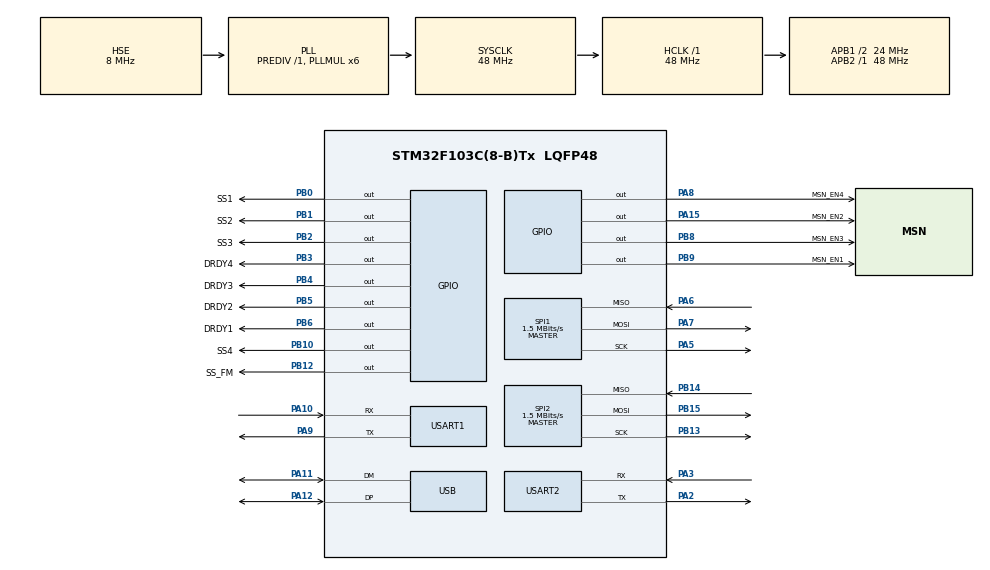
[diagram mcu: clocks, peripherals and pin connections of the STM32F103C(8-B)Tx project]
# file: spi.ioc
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Dma.Request0=SPI1_RX
Dma.Request1=SPI1_TX
Dma.Request2=USART1_RX
Dma.Request3=USART1_TX
Dma.Request4=USART2_RX
Dma.Request5=USART2_TX
Dma.SPI1_RX.0.Direction=DMA_PERIPH_TO_MEMORY
Dma.SPI1_RX.0.Instance=DMA1_Channel2
Dma.SPI1_RX.0.MemDataAlignment=DMA_MDATAALIGN_BYTE
Dma.SPI1_RX.0.MemInc=DMA_MINC_ENABLE
Dma.SPI1_RX.0.Mode=DMA_NORMAL
Dma.SPI1_RX.0.PeriphDataAlignment=DMA_PDATAALIGN_BYTE
Dma.SPI1_RX.0.PeriphInc=DMA_PINC_DISABLE
Dma.SPI1_RX.0.Priority=DMA_PRIORITY_LOW
Dma.SPI1_TX.1.Direction=DMA_MEMORY_TO_PERIPH
Dma.SPI1_TX.1.Instance=DMA1_Channel3
Dma.SPI1_TX.1.MemDataAlignment=DMA_MDATAALIGN_BYTE
Dma.SPI1_TX.1.MemInc=DMA_MINC_ENABLE
Dma.SPI1_TX.1.Mode=DMA_NORMAL
Dma.SPI1_TX.1.PeriphDataAlignment=DMA_PDATAALIGN_BYTE
Dma.SPI1_TX.1.PeriphInc=DMA_PINC_DISABLE
Dma.SPI1_TX.1.Priority=DMA_PRIORITY_LOW
Dma.USART1_RX.2.Direction=DMA_PERIPH_TO_MEMORY
Dma.USART1_RX.2.Instance=DMA1_Channel5
Dma.USART1_RX.2.MemDataAlignment=DMA_MDATAALIGN_BYTE
Dma.USART1_RX.2.MemInc=DMA_MINC_ENABLE
Dma.USART1_RX.2.Mode=DMA_NORMAL
Dma.USART1_RX.2.PeriphDataAlignment=DMA_PDATAALIGN_BYTE
Dma.USART1_RX.2.PeriphInc=DMA_PINC_DISABLE
Dma.USART1_RX.2.Priority=DMA_PRIORITY_LOW
Dma.USART1_TX.3.Direction=DMA_MEMORY_TO_PERIPH
Dma.USART1_TX.3.Instance=DMA1_Channel4
Dma.USART1_TX.3.MemDataAlignment=DMA_MDATAALIGN_BYTE
Dma.USART1_TX.3.MemInc=DMA_MINC_ENABLE
Dma.USART1_TX.3.Mode=DMA_NORMAL
Dma.USART1_TX.3.PeriphDataAlignment=DMA_PDATAALIGN_BYTE
Dma.USART1_TX.3.PeriphInc=DMA_PINC_DISABLE
Dma.USART1_TX.3.Priority=DMA_PRIORITY_LOW
Dma.USART2_RX.4.Direction=DMA_PERIPH_TO_MEMORY
Dma.USART2_RX.4.Instance=DMA1_Channel6
Dma.USART2_RX.4.MemDataAlignment=DMA_MDATAALIGN_BYTE
Dma.USART2_RX.4.MemInc=DMA_MINC_ENABLE
Dma.USART2_RX.4.Mode=DMA_NORMAL
Dma.USART2_RX.4.PeriphDataAlignment=DMA_PDATAALIGN_BYTE
Dma.USART2_RX.4.PeriphInc=DMA_PINC_DISABLE
Dma.USART2_RX.4.Priority=DMA_PRIORITY_LOW
Dma.USART2_TX.5.Direction=DMA_MEMORY_TO_PERIPH
Dma.USART2_TX.5.Instance=DMA1_Channel7
Dma.USART2_TX.5.MemDataAlignment=DMA_MDATAALIGN_BYTE
Dma.USART2_TX.5.MemInc=DMA_MINC_ENABLE
Dma.USART2_TX.5.Mode=DMA_NORMAL
Dma.USART2_TX.5.PeriphDataAlignment=DMA_PDATAALIGN_BYTE
Dma.USART2_TX.5.PeriphInc=DMA_PINC_DISABLE
Dma.USART2_TX.5.Priority=DMA_PRIORITY_LOW
Mcu.Family=STM32F1
Mcu.Name=STM32F103C(8-B)Tx
Mcu.Package=LQFP48
NVIC.DMA1_Channel2_IRQn=true\:0\:0\:false\:false\:true\:false\:true
NVIC.DMA1_Channel3_IRQn=true\:0\:0\:false\:false\:true\:false\:true
NVIC.DMA1_Channel4_IRQn=true\:0\:0\:false\:false\:true\:false\:true
NVIC.DMA1_Channel5_IRQn=true\:0\:0\:false\:false\:true\:false\:true
NVIC.DMA1_Channel6_IRQn=true\:0\:0\:false\:false\:true\:false\:true
NVIC.DMA1_Channel7_IRQn=true\:0\:0\:false\:false\:true\:false\:true
NVIC.FLASH_IRQn=true\:0\:0\:false\:false\:true\:true\:true
NVIC.PVD_IRQn=true\:0\:0\:false\:false\:true\:true\:true
NVIC.PriorityGroup=NVIC_PRIORITYGROUP_4
NVIC.RCC_IRQn=true\:0\:0\:false\:false\:true\:true\:false
NVIC.RTC_Alarm_IRQn=true\:0\:0\:false\:false\:true\:true\:true
NVIC.RTC_IRQn=true\:0\:0\:false\:false\:true\:true\:true
NVIC.SPI1_IRQn=true\:0\:0\:false\:false\:true\:true\:true
NVIC.SPI2_IRQn=true\:0\:0\:false\:false\:true\:true\:true
NVIC.USART1_IRQn=true\:0\:0\:false\:false\:true\:true\:true
NVIC.USART2_IRQn=true\:0\:0\:false\:false\:true\:true\:true
NVIC.USB_HP_CAN1_TX_IRQn=true\:0\:0\:false\:false\:true\:true\:true
NVIC.USB_LP_CAN1_RX0_IRQn=true\:0\:0\:false\:false\:true\:true\:true
PA10.Mode=Asynchronous
PA10.Signal=USART1_RX
PA11.Mode=Device
PA11.Signal=USB_DM
PA12.Mode=Device
PA12.Signal=USB_DP
PA13.Mode=Serial_Wire
PA13.Signal=SYS_JTMS-SWDIO
PA14.Mode=Serial_Wire
PA14.Signal=SYS_JTCK-SWCLK
PA15.GPIO_Label=MSN_EN2
PA15.GPIO_PuPd=GPIO_PULLUP
PA15.Signal=GPIO_Output
PA2.Mode=Asynchronous
PA2.Signal=USART2_TX
PA3.Mode=Asynchronous
PA3.Signal=USART2_RX
PA5.Mode=Full_Duplex_Master
PA5.Signal=SPI1_SCK
PA6.Mode=Full_Duplex_Master
PA6.Signal=SPI1_MISO
PA7.Mode=Full_Duplex_Master
PA7.Signal=SPI1_MOSI
PA8.GPIO_Label=MSN_EN4
PA8.GPIO_PuPd=GPIO_PULLUP
PA8.Signal=GPIO_Output
PA9.Mode=Asynchronous
PA9.Signal=USART1_TX
PB0.GPIO_Label=SS1
PB0.Signal=GPIO_Output
PB1.GPIO_Label=SS2
PB1.Signal=GPIO_Output
PB10.GPIO_Label=SS4
PB10.Signal=GPIO_Output
PB12.GPIO_Label=SS_FM
PB12.Signal=GPIO_Output
PB13.Mode=Full_Duplex_Master
PB13.Signal=SPI2_SCK
PB14.Mode=Full_Duplex_Master
PB14.Signal=SPI2_MISO
PB15.Mode=Full_Duplex_Master
PB15.Signal=SPI2_MOSI
PB2.GPIO_Label=SS3
PB2.Signal=GPIO_Output
PB3.GPIO_Label=DRDY4
PB3.Signal=GPIO_Output
PB4.GPIO_Label=DRDY3
PB4.Signal=GPIO_Output
PB5.GPIO_Label=DRDY2
PB5.Signal=GPIO_Output
PB6.GPIO_Label=DRDY1
PB6.Signal=GPIO_Output
PB8.GPIO_Label=MSN_EN3
PB8.GPIO_PuPd=GPIO_PULLUP
PB8.Signal=GPIO_Output
PB9.GPIO_Label=MSN_EN1
PB9.GPIO_PuPd=GPIO_PULLUP
PB9.Signal=GPIO_Output
PD0-OSC_IN.Mode=HSE-External-Oscillator
PD0-OSC_IN.Signal=RCC_OSC_IN
PD1-OSC_OUT.Mode=HSE-External-Oscillator
PD1-OSC_OUT.Signal=RCC_OSC_OUT
ProjectManager.HeapSize=0x200
ProjectManager.StackSize=0x400
ProjectManager.TargetToolchain=STM32CubeIDE
RCC.AHBFreq_Value=48000000
RCC.APB1CLKDivider=RCC_HCLK_DIV2
RCC.APB1Freq_Value=24000000
RCC.APB1TimFreq_Value=48000000
RCC.APB2Freq_Value=48000000
RCC.APB2TimFreq_Value=48000000
RCC.HCLKFreq_Value=48000000
RCC.PLLMUL=RCC_PLL_MUL6
RCC.PLLSourceVirtual=RCC_PLLSOURCE_HSE
RCC.SYSCLKFreq_VALUE=48000000
RCC.SYSCLKSource=RCC_SYSCLKSOURCE_PLLCLK
RCC.USBFreq_Value=48000000
SPI1.BaudRatePrescaler=SPI_BAUDRATEPRESCALER_32
SPI1.CLKPhase=SPI_PHASE_1EDGE
SPI1.CLKPolarity=SPI_POLARITY_LOW
SPI1.CalculateBaudRate=1.5 MBits/s
SPI1.DataSize=SPI_DATASIZE_8BIT
SPI1.Direction=SPI_DIRECTION_2LINES
SPI1.Mode=SPI_MODE_MASTER
SPI1.VirtualType=VM_MASTER
SPI2.BaudRatePrescaler=SPI_BAUDRATEPRESCALER_16
SPI2.CalculateBaudRate=1.5 MBits/s
SPI2.Direction=SPI_DIRECTION_2LINES
SPI2.Mode=SPI_MODE_MASTER
SPI2.VirtualType=VM_MASTER
USART1.VirtualMode=VM_ASYNC
USART2.VirtualMode=VM_ASYNC
VP_RTC_VS_RTC_Activate.Mode=RTC_Enabled
board=custom

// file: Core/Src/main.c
/* USER CODE BEGIN Header */
/**
  ******************************************************************************
  * @file           : main.c
  * @brief          : Main program body
  ******************************************************************************
  * @attention
  *
  * <h2><center>&copy; Copyright (c) 2024 STMicroelectronics.
  * All rights reserved.</center></h2>
  *
  * This software component is licensed by ST under BSD 3-Clause license,
  * the "License"; You may not use this file except in compliance with the
  * License. You may obtain a copy of the License at:
  *                        opensource.org/licenses/BSD-3-Clause
  *
  ******************************************************************************
  */
/* USER CODE END Header */
#include "main.h"

/* USER CODE BEGIN Includes */
#include "stdarg.h"
#include "RM3100QUAD.h"
/* USER CODE END Includes */

/* USER CODE BEGIN PTD */
//#define CDC_USB_DEBUG
#define UART_DEBUG
/* USER CODE END PTD */

/* USER CODE BEGIN PD */
#define sector_size 32
/* USER CODE END PD */

/* USER CODE BEGIN PM */
void myprintf(const char *fmt, ...);
uint8_t OBC_HANDSHAKE_RX[7];
uint8_t OBC_HANDSHAKE_TX[7];
uint8_t OBC_CMD_RX[7] = {'/0'};
/* USER CODE END PM */

RTC_HandleTypeDef hrtc;

SPI_HandleTypeDef hspi1;
SPI_HandleTypeDef hspi2;
DMA_HandleTypeDef hdma_spi1_rx;
DMA_HandleTypeDef hdma_spi1_tx;

UART_HandleTypeDef huart1;
UART_HandleTypeDef huart2;
DMA_HandleTypeDef hdma_usart1_rx;
DMA_HandleTypeDef hdma_usart1_tx;
DMA_HandleTypeDef hdma_usart2_rx;
DMA_HandleTypeDef hdma_usart2_tx;

PCD_HandleTypeDef hpcd_USB_FS;

/* USER CODE BEGIN PV */

//uint8_t tx[]={'S','A','N','G','A','M'};

uint16_t address = 0x00;
uint8_t status_reg=0;
uint8_t READ_FLAG=0;

uint8_t usb_stat =0;
uint8_t OBC_CMD_RX_FLAG = 0;
uint8_t OBC_HANDSHAKE_SUCESS=0;

uint8_t DEBUG_DATA_RX_FLAG = 0;
// variables used by the filesystem
typedef struct{
	uint32_t secCount;
	uint32_t bootCount;
}app_count_t;
uint8_t data[20];
app_count_t Counter = {0};
/* USER CODE END PV */

void SystemClock_Config(void);
static void MX_GPIO_Init(void);
static void MX_SPI1_Init(void);
static void MX_DMA_Init(void);
static void MX_USART2_UART_Init(void);
static void MX_SPI2_Init(void);
static void MX_USB_PCD_Init(void);
static void MX_USART1_UART_Init(void);
static void MX_RTC_Init(void);
/* USER CODE BEGIN PFP */
//HANDSHAKE COMMAND RECEIVING MODE
void HAL_UART_RxcpltCallback(UART_HandleTypeDef *huart){
	//OBC_CMD_RX_FLAG=200;
	if(huart == &huart2){
		OBC_CMD_RX_FLAG = 1;
		HAL_UART_Receive_IT(&huart2, OBC_HANDSHAKE_RX, sizeof(OBC_HANDSHAKE_RX));
	}
}
/* USER CODE END PFP */

/* USER CODE BEGIN 0 */

//HANDSHAKE WITH ON-BOARD COMPUTER
uint8_t OBC_HANDSHAKE(){
	OBC_HANDSHAKE_SUCESS = 0;
	if(HAL_UART_Receive(&huart2, OBC_HANDSHAKE_RX, sizeof(OBC_HANDSHAKE_RX),3000)==HAL_OK){
		if(OBC_HANDSHAKE_RX[0] != '\0' && OBC_HANDSHAKE_RX[1]!='\0' && OBC_HANDSHAKE_RX[2]!='\0' && OBC_HANDSHAKE_RX[3] != '\0'){

					if(HAL_UART_Transmit(&huart2, OBC_HANDSHAKE_RX, sizeof(OBC_HANDSHAKE_RX), 3000)==HAL_OK){
						OBC_HANDSHAKE_SUCESS = 1;
						HAL_UART_Transmit(&huart1, OBC_HANDSHAKE_RX, sizeof(OBC_HANDSHAKE_RX), 1000);
						HAL_UART_Transmit(&huart1, "HANDSHAKE SUCCESSFULLY\n", "HANDSHAKE SUCCESSFULLY", 1000);
						HAL_Delay(1000);
					}
				}
	}
	return OBC_HANDSHAKE_SUCESS;
}

/* USER CODE END 0 */

int main(void)
{

  /* MCU Configuration--------------------------------------------------------*/

  /* Reset of all peripherals, Initializes the Flash interface and the Systick. */
  HAL_Init();

  /* Configure the system clock */
  SystemClock_Config();

  /* Initialize all configured peripherals */
  MX_GPIO_Init();
  MX_SPI1_Init();
  MX_DMA_Init();
  MX_USART2_UART_Init();
  MX_SPI2_Init();
  MX_USB_PCD_Init();
  MX_USART1_UART_Init();
  MX_RTC_Init();
  /* USER CODE BEGIN 2 */
  //FIRST HANDSHAKE WITH OBC
//while(1){
//HAL_UART_Transmit(&huart1, "**EPDM IS STARTING**\n", sizeof("**EPDM IS STARTING**"), 1000);
//HAL_UART_Transmit(&huart2, tx, sizeof(tx), 1000);
//}
//uint8_t rx;
//while(1){
//	if(HAL_UART_Receive(&huart2,&rx, 1, 1000)==HAL_OK){
//		HAL_UART_Transmit(&huart1, &rx, 1, 1000);
//	}
//}
  HAL_UART_Transmit(&huart1, "**EPDM IS STARTING**\n", sizeof("**EPDM IS STARTING**"), 1000);

  while(OBC_HANDSHAKE_SUCESS ==0){
	  memset(OBC_HANDSHAKE_RX, '\0', sizeof(OBC_HANDSHAKE_RX));
	  	memset(OBC_HANDSHAKE_TX, '\0', sizeof(OBC_HANDSHAKE_TX));
  	 OBC_HANDSHAKE();
   }

   while(OBC_CMD_RX_FLAG != 1){
  	 OBC_HANDSHAKE();
  	 if(HAL_UART_Receive(&huart2, OBC_HANDSHAKE_RX, sizeof(OBC_HANDSHAKE_RX),1000) >0){
  		 OBC_CMD_RX_FLAG = 1;
  	 }

   }
   HAL_Delay(1000);

  HAL_GPIO_WritePin(GPIOB, MSN_EN1_Pin, SET); // Set PB9 high
  HAL_GPIO_WritePin(GPIOB, MSN_EN2_Pin, SET); // Set PB8 high
  HAL_GPIO_WritePin(GPIOB, MSN_EN3_Pin, SET); // Set PA15 high
  HAL_GPIO_WritePin(GPIOB, MSN_EN4_Pin, SET); // Set PA8 high
  uint8_t data[20];
// Read_ID(&hspi2, GPIOB, GPIO_PIN_12, data);
 //   HAL_Delay(100);
    HAL_UART_Transmit(&huart1, "STARTING DATA READING", sizeof("STARTING DATA READING"), 1000);
	  READ_DATA();
  /* USER CODE END 2 */

  /* Infinite loop */
  while (1)
  {

  }
}

void SystemClock_Config(void)
{
  RCC_OscInitTypeDef RCC_OscInitStruct = {0};
  RCC_ClkInitTypeDef RCC_ClkInitStruct = {0};
  RCC_PeriphCLKInitTypeDef PeriphClkInit = {0};

  /** Initializes the RCC Oscillators according to the specified parameters
  * in the RCC_OscInitTypeDef structure.
  */
  RCC_OscInitStruct.OscillatorType = RCC_OSCILLATORTYPE_LSI|RCC_OSCILLATORTYPE_HSE;
  RCC_OscInitStruct.HSEState = RCC_HSE_ON;
  RCC_OscInitStruct.HSEPredivValue = RCC_HSE_PREDIV_DIV1;
  RCC_OscInitStruct.HSIState = RCC_HSI_ON;
  RCC_OscInitStruct.LSIState = RCC_LSI_ON;
  RCC_OscInitStruct.PLL.PLLState = RCC_PLL_ON;
  RCC_OscInitStruct.PLL.PLLSource = RCC_PLLSOURCE_HSE;
  RCC_OscInitStruct.PLL.PLLMUL = RCC_PLL_MUL6;
  if (HAL_RCC_OscConfig(&RCC_OscInitStruct) != HAL_OK)
  {
    Error_Handler();
  }
  /** Initializes the CPU, AHB and APB buses clocks
  */
  RCC_ClkInitStruct.ClockType = RCC_CLOCKTYPE_HCLK|RCC_CLOCKTYPE_SYSCLK
                              |RCC_CLOCKTYPE_PCLK1|RCC_CLOCKTYPE_PCLK2;
  RCC_ClkInitStruct.SYSCLKSource = RCC_SYSCLKSOURCE_PLLCLK;
  RCC_ClkInitStruct.AHBCLKDivider = RCC_SYSCLK_DIV1;
  RCC_ClkInitStruct.APB1CLKDivider = RCC_HCLK_DIV2;
  RCC_ClkInitStruct.APB2CLKDivider = RCC_HCLK_DIV1;

  if (HAL_RCC_ClockConfig(&RCC_ClkInitStruct, FLASH_LATENCY_1) != HAL_OK)
  {
    Error_Handler();
  }
  PeriphClkInit.PeriphClockSelection = RCC_PERIPHCLK_RTC|RCC_PERIPHCLK_USB;
  PeriphClkInit.RTCClockSelection = RCC_RTCCLKSOURCE_LSI;
  PeriphClkInit.UsbClockSelection = RCC_USBCLKSOURCE_PLL;
  if (HAL_RCCEx_PeriphCLKConfig(&PeriphClkInit) != HAL_OK)
  {
    Error_Handler();
  }
}

static void MX_RTC_Init(void)
{

  /** Initialize RTC Only
  */
  hrtc.Instance = RTC;
  hrtc.Init.AsynchPrediv = RTC_AUTO_1_SECOND;
  hrtc.Init.OutPut = RTC_OUTPUTSOURCE_ALARM;
  if (HAL_RTC_Init(&hrtc) != HAL_OK)
  {
    Error_Handler();
  }

}

static void MX_SPI1_Init(void)
{

  /* SPI1 parameter configuration*/
  hspi1.Instance = SPI1;
  hspi1.Init.Mode = SPI_MODE_MASTER;
  hspi1.Init.Direction = SPI_DIRECTION_2LINES;
  hspi1.Init.DataSize = SPI_DATASIZE_8BIT;
  hspi1.Init.CLKPolarity = SPI_POLARITY_LOW;
  hspi1.Init.CLKPhase = SPI_PHASE_1EDGE;
  hspi1.Init.NSS = SPI_NSS_SOFT;
  hspi1.Init.BaudRatePrescaler = SPI_BAUDRATEPRESCALER_32;
  hspi1.Init.FirstBit = SPI_FIRSTBIT_MSB;
  hspi1.Init.TIMode = SPI_TIMODE_DISABLE;
  hspi1.Init.CRCCalculation = SPI_CRCCALCULATION_DISABLE;
  hspi1.Init.CRCPolynomial = 10;
  if (HAL_SPI_Init(&hspi1) != HAL_OK)
  {
    Error_Handler();
  }

}

static void MX_SPI2_Init(void)
{

  /* SPI2 parameter configuration*/
  hspi2.Instance = SPI2;
  hspi2.Init.Mode = SPI_MODE_MASTER;
  hspi2.Init.Direction = SPI_DIRECTION_2LINES;
  hspi2.Init.DataSize = SPI_DATASIZE_8BIT;
  hspi2.Init.CLKPolarity = SPI_POLARITY_LOW;
  hspi2.Init.CLKPhase = SPI_PHASE_1EDGE;
  hspi2.Init.NSS = SPI_NSS_SOFT;
  hspi2.Init.BaudRatePrescaler = SPI_BAUDRATEPRESCALER_16;
  hspi2.Init.FirstBit = SPI_FIRSTBIT_MSB;
  hspi2.Init.TIMode = SPI_TIMODE_DISABLE;
  hspi2.Init.CRCCalculation = SPI_CRCCALCULATION_DISABLE;
  hspi2.Init.CRCPolynomial = 10;
  if (HAL_SPI_Init(&hspi2) != HAL_OK)
  {
    Error_Handler();
  }

}

static void MX_USART1_UART_Init(void)
{

  huart1.Instance = USART1;
  huart1.Init.BaudRate = 115200;
  huart1.Init.WordLength = UART_WORDLENGTH_8B;
  huart1.Init.StopBits = UART_STOPBITS_1;
  huart1.Init.Parity = UART_PARITY_NONE;
  huart1.Init.Mode = UART_MODE_TX_RX;
  huart1.Init.HwFlowCtl = UART_HWCONTROL_NONE;
  huart1.Init.OverSampling = UART_OVERSAMPLING_16;
  if (HAL_UART_Init(&huart1) != HAL_OK)
  {
    Error_Handler();
  }

}

static void MX_USART2_UART_Init(void)
{

  huart2.Instance = USART2;
  huart2.Init.BaudRate = 115200;
  huart2.Init.WordLength = UART_WORDLENGTH_8B;
  huart2.Init.StopBits = UART_STOPBITS_1;
  huart2.Init.Parity = UART_PARITY_NONE;
  huart2.Init.Mode = UART_MODE_TX_RX;
  huart2.Init.HwFlowCtl = UART_HWCONTROL_NONE;
  huart2.Init.OverSampling = UART_OVERSAMPLING_16;
  if (HAL_UART_Init(&huart2) != HAL_OK)
  {
    Error_Handler();
  }

}

static void MX_USB_PCD_Init(void)
{

  hpcd_USB_FS.Instance = USB;
  hpcd_USB_FS.Init.dev_endpoints = 8;
  hpcd_USB_FS.Init.speed = PCD_SPEED_FULL;
  hpcd_USB_FS.Init.low_power_enable = DISABLE;
  hpcd_USB_FS.Init.lpm_enable = DISABLE;
  hpcd_USB_FS.Init.battery_charging_enable = DISABLE;
  if (HAL_PCD_Init(&hpcd_USB_FS) != HAL_OK)
  {
    Error_Handler();
  }

}

static void MX_DMA_Init(void)
{

  /* DMA controller clock enable */
  __HAL_RCC_DMA1_CLK_ENABLE();

  /* DMA interrupt init */
  /* DMA1_Channel2_IRQn interrupt configuration */
  HAL_NVIC_SetPriority(DMA1_Channel2_IRQn, 0, 0);
  HAL_NVIC_EnableIRQ(DMA1_Channel2_IRQn);
  /* DMA1_Channel3_IRQn interrupt configuration */
  HAL_NVIC_SetPriority(DMA1_Channel3_IRQn, 0, 0);
  HAL_NVIC_EnableIRQ(DMA1_Channel3_IRQn);
  /* DMA1_Channel4_IRQn interrupt configuration */
  HAL_NVIC_SetPriority(DMA1_Channel4_IRQn, 0, 0);
  HAL_NVIC_EnableIRQ(DMA1_Channel4_IRQn);
  /* DMA1_Channel5_IRQn interrupt configuration */
  HAL_NVIC_SetPriority(DMA1_Channel5_IRQn, 0, 0);
  HAL_NVIC_EnableIRQ(DMA1_Channel5_IRQn);
  /* DMA1_Channel6_IRQn interrupt configuration */
  HAL_NVIC_SetPriority(DMA1_Channel6_IRQn, 0, 0);
  HAL_NVIC_EnableIRQ(DMA1_Channel6_IRQn);
  /* DMA1_Channel7_IRQn interrupt configuration */
  HAL_NVIC_SetPriority(DMA1_Channel7_IRQn, 0, 0);
  HAL_NVIC_EnableIRQ(DMA1_Channel7_IRQn);

}

static void MX_GPIO_Init(void)
{
  GPIO_InitTypeDef GPIO_InitStruct = {0};

  /* GPIO Ports Clock Enable */
  __HAL_RCC_GPIOD_CLK_ENABLE();
  __HAL_RCC_GPIOA_CLK_ENABLE();
  __HAL_RCC_GPIOB_CLK_ENABLE();

  /*Configure GPIO pin Output Level */
  HAL_GPIO_WritePin(GPIOB, SS1_Pin|SS2_Pin|SS3_Pin|SS4_Pin
                          |SS_FM_Pin|DRDY4_Pin|DRDY3_Pin|DRDY2_Pin
                          |DRDY1_Pin|MSN_EN3_Pin|MSN_EN1_Pin, GPIO_PIN_RESET);

  /*Configure GPIO pin Output Level */
  HAL_GPIO_WritePin(GPIOA, MSN_EN4_Pin|MSN_EN2_Pin, GPIO_PIN_RESET);

  /*Configure GPIO pins : SS1_Pin SS2_Pin SS3_Pin SS4_Pin
                           SS_FM_Pin DRDY4_Pin DRDY3_Pin DRDY2_Pin
                           DRDY1_Pin */
  GPIO_InitStruct.Pin = SS1_Pin|SS2_Pin|SS3_Pin|SS4_Pin
                          |SS_FM_Pin|DRDY4_Pin|DRDY3_Pin|DRDY2_Pin
                          |DRDY1_Pin;
  GPIO_InitStruct.Mode = GPIO_MODE_OUTPUT_PP;
  GPIO_InitStruct.Pull = GPIO_NOPULL;
  GPIO_InitStruct.Speed = GPIO_SPEED_FREQ_LOW;
  HAL_GPIO_Init(GPIOB, &GPIO_InitStruct);

  /*Configure GPIO pins : MSN_EN4_Pin MSN_EN2_Pin */
  GPIO_InitStruct.Pin = MSN_EN4_Pin|MSN_EN2_Pin;
  GPIO_InitStruct.Mode = GPIO_MODE_OUTPUT_PP;
  GPIO_InitStruct.Pull = GPIO_PULLUP;
  GPIO_InitStruct.Speed = GPIO_SPEED_FREQ_LOW;
  HAL_GPIO_Init(GPIOA, &GPIO_InitStruct);

  /*Configure GPIO pins : MSN_EN3_Pin MSN_EN1_Pin */
  GPIO_InitStruct.Pin = MSN_EN3_Pin|MSN_EN1_Pin;
  GPIO_InitStruct.Mode = GPIO_MODE_OUTPUT_PP;
  GPIO_InitStruct.Pull = GPIO_PULLUP;
  GPIO_InitStruct.Speed = GPIO_SPEED_FREQ_LOW;
  HAL_GPIO_Init(GPIOB, &GPIO_InitStruct);

}

/* USER CODE BEGIN 4 */
void myprintf(const char *fmt, ...) {
    va_list args;
    va_start(args, fmt);
    char buffer[100];
    vsnprintf(buffer, sizeof(buffer), fmt, args);
    HAL_UART_Transmit(&DEBUG_UART, (uint8_t*) buffer, strlen(buffer), HAL_MAX_DELAY);
    va_end(args);
}

/* USER CODE END 4 */

void Error_Handler(void)
{
  __disable_irq();
  while (1)
  {
  }
}

/************************ (C) COPYRIGHT STMicroelectronics *****END OF FILE****/
